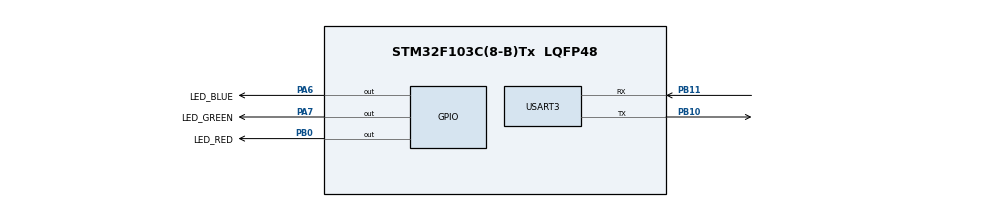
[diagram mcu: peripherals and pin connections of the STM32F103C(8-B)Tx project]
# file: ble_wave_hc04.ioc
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Dma.Request0=USART3_TX
Dma.Request1=USART3_RX
Dma.USART3_RX.1.Direction=DMA_PERIPH_TO_MEMORY
Dma.USART3_RX.1.Instance=DMA1_Channel3
Dma.USART3_RX.1.MemDataAlignment=DMA_MDATAALIGN_BYTE
Dma.USART3_RX.1.MemInc=DMA_MINC_ENABLE
Dma.USART3_RX.1.Mode=DMA_NORMAL
Dma.USART3_RX.1.PeriphDataAlignment=DMA_PDATAALIGN_BYTE
Dma.USART3_RX.1.PeriphInc=DMA_PINC_DISABLE
Dma.USART3_RX.1.Priority=DMA_PRIORITY_LOW
Dma.USART3_TX.0.Direction=DMA_MEMORY_TO_PERIPH
Dma.USART3_TX.0.Instance=DMA1_Channel2
Dma.USART3_TX.0.MemDataAlignment=DMA_MDATAALIGN_BYTE
Dma.USART3_TX.0.MemInc=DMA_MINC_ENABLE
Dma.USART3_TX.0.Mode=DMA_NORMAL
Dma.USART3_TX.0.PeriphDataAlignment=DMA_PDATAALIGN_BYTE
Dma.USART3_TX.0.PeriphInc=DMA_PINC_DISABLE
Dma.USART3_TX.0.Priority=DMA_PRIORITY_LOW
Mcu.Family=STM32F1
Mcu.Name=STM32F103C(8-B)Tx
Mcu.Package=LQFP48
NVIC.DMA1_Channel2_IRQn=true\:0\:0\:false\:false\:true\:false\:true\:true
NVIC.DMA1_Channel3_IRQn=true\:0\:0\:false\:false\:true\:false\:true\:true
NVIC.PriorityGroup=NVIC_PRIORITYGROUP_4
NVIC.USART3_IRQn=true\:0\:0\:false\:false\:true\:true\:true\:true
PA13.Mode=Serial_Wire
PA13.Signal=SYS_JTMS-SWDIO
PA14.Mode=Serial_Wire
PA14.Signal=SYS_JTCK-SWCLK
PA6.GPIO_Label=LED_BLUE
PA6.Signal=GPIO_Output
PA7.GPIO_Label=LED_GREEN
PA7.Signal=GPIO_Output
PB0.GPIO_Label=LED_RED
PB0.Signal=GPIO_Output
PB10.Mode=Asynchronous
PB10.Signal=USART3_TX
PB11.Mode=Asynchronous
PB11.Signal=USART3_RX
ProjectManager.HeapSize=0x200
ProjectManager.StackSize=0x400
ProjectManager.TargetToolchain=STM32CubeIDE
RCC.APB1Freq_Value=8000000
RCC.APB2Freq_Value=8000000
USART3.VirtualMode=VM_ASYNC
board=custom

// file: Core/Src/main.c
/* USER CODE BEGIN Header */
/**
  ******************************************************************************
  * @file           : main.c
  * @brief          : Main program body
  ******************************************************************************
  * @attention
  *
  * Copyright (c) 2026 STMicroelectronics.
  * All rights reserved.
  *
  * This software is licensed under terms that can be found in the LICENSE file
  * in the root directory of this software component.
  * If no LICENSE file comes with this software, it is provided AS-IS.
  *
  * HC-04 蓝牙透传模块波形传输
  * USART3 (PB10-TX, PB11-RX) @115200 8N1 连接 HC-04
  * HC-04 上电即进入透传模式，无需手动开启广播
  * 波形数据通过 wave_plotter 以 [p,数值] 格式发送给上位机
  * LED: PB0(红) PA7(绿) PA6(蓝)
  * SWD 调试: PA13(SWDIO) PA14(SWCLK)
  *
  ******************************************************************************
  */
/* USER CODE END Header */
#include "main.h"

/* USER CODE BEGIN Includes */
#include <string.h>
#include "wave_plotter.h"
/* USER CODE END Includes */

/* USER CODE BEGIN PD */
#define WAVE_POINTS 64  /* 正弦波每周期采样点数 */
/* USER CODE END PD */

UART_HandleTypeDef huart3;
DMA_HandleTypeDef hdma_usart3_tx;
DMA_HandleTypeDef hdma_usart3_rx;

/* USER CODE BEGIN PV */
uint8_t receiveData[50];
/* USER CODE END PV */

void SystemClock_Config(void);
static void MX_GPIO_Init(void);
static void MX_DMA_Init(void);
static void MX_USART3_UART_Init(void);

/* USER CODE BEGIN 0 */

/*
 * 64 点正弦波查找表 (模拟 12 位 ADC 采样值 0~4095)
 * 中心值 2048，振幅 2047，一个完整周期
 */
static const int sineTable[WAVE_POINTS] = {
    2048, 2249, 2447, 2642, 2831, 3013, 3185, 3347,
    3495, 3630, 3750, 3853, 3939, 4007, 4056, 4085,
    4095, 4085, 4056, 4007, 3939, 3853, 3750, 3630,
    3495, 3347, 3185, 3013, 2831, 2642, 2447, 2249,
    2048, 1847, 1649, 1454, 1265, 1083,  911,  749,
     601,  466,  346,  243,  157,   89,   40,   11,
       1,   11,   40,   89,  157,  243,  346,  466,
     601,  749,  911, 1083, 1265, 1454, 1649, 1847
};

/*
 * HC-04 透传模式接收回调
 * 手机/上位机通过 HC-04 发来的数据以原始字节到达
 * 此处仅重启 DMA 接收，可根据需要在此添加数据处理逻辑
 */
void HAL_UARTEx_RxEventCallback(UART_HandleTypeDef *huart, uint16_t Size)
{
	if (huart == &huart3)
	{
		/* 重新启动 DMA 接收 */
		HAL_UARTEx_ReceiveToIdle_DMA(&huart3, receiveData, sizeof(receiveData));
		__HAL_DMA_DISABLE_IT(&hdma_usart3_rx, DMA_IT_HT);
	}
}
/* USER CODE END 0 */

int main(void)
{

  /* MCU Configuration--------------------------------------------------------*/

  /* Reset of all peripherals, Initializes the Flash interface and the Systick. */
  HAL_Init();

  /* Configure the system clock */
  SystemClock_Config();

  /* Initialize all configured peripherals */
  MX_GPIO_Init();
  MX_DMA_Init();
  MX_USART3_UART_Init();
  /* USER CODE BEGIN 2 */
  /* 启动 DMA 接收（HC-04 透传模式下接收上位机数据） */
  HAL_UARTEx_ReceiveToIdle_DMA(&huart3, receiveData, sizeof(receiveData));
  __HAL_DMA_DISABLE_IT(&hdma_usart3_rx, DMA_IT_HT);

  /* HC-04 上电即透传，无需手动开启广播 */
  HAL_Delay(100);
  /* USER CODE END 2 */

  /* Infinite loop */
  /* USER CODE BEGIN WHILE */
  while (1)
  {
    /* 通过 HC-04 蓝牙透传发送正弦波数据 */
    /* wave_plotter 内部将 ADC 值(0~4095)映射为电压(0~330)并以 [p,数值] 格式发送 */
    Plotter_Send_1CH(&huart3, (int *)sineTable, WAVE_POINTS);

    /* 每个周期之间稍作停顿，便于上位机区分波形周期 */
    HAL_Delay(50);
    /* USER CODE END WHILE */

  }
}

void SystemClock_Config(void)
{
  RCC_OscInitTypeDef RCC_OscInitStruct = {0};
  RCC_ClkInitTypeDef RCC_ClkInitStruct = {0};

  /** Initializes the RCC Oscillators according to the specified parameters
  * in the RCC_OscInitTypeDef structure.
  */
  RCC_OscInitStruct.OscillatorType = RCC_OSCILLATORTYPE_HSI;
  RCC_OscInitStruct.HSIState = RCC_HSI_ON;
  RCC_OscInitStruct.HSICalibrationValue = RCC_HSICALIBRATION_DEFAULT;
  RCC_OscInitStruct.PLL.PLLState = RCC_PLL_NONE;
  if (HAL_RCC_OscConfig(&RCC_OscInitStruct) != HAL_OK)
  {
    Error_Handler();
  }

  /** Initializes the CPU, AHB and APB buses clocks
  */
  RCC_ClkInitStruct.ClockType = RCC_CLOCKTYPE_HCLK|RCC_CLOCKTYPE_SYSCLK
                              |RCC_CLOCKTYPE_PCLK1|RCC_CLOCKTYPE_PCLK2;
  RCC_ClkInitStruct.SYSCLKSource = RCC_SYSCLKSOURCE_HSI;
  RCC_ClkInitStruct.AHBCLKDivider = RCC_SYSCLK_DIV1;
  RCC_ClkInitStruct.APB1CLKDivider = RCC_HCLK_DIV1;
  RCC_ClkInitStruct.APB2CLKDivider = RCC_HCLK_DIV1;

  if (HAL_RCC_ClockConfig(&RCC_ClkInitStruct, FLASH_LATENCY_0) != HAL_OK)
  {
    Error_Handler();
  }
}

static void MX_USART3_UART_Init(void)
{

  huart3.Instance = USART3;
  huart3.Init.BaudRate = 115200;
  huart3.Init.WordLength = UART_WORDLENGTH_8B;
  huart3.Init.StopBits = UART_STOPBITS_1;
  huart3.Init.Parity = UART_PARITY_NONE;
  huart3.Init.Mode = UART_MODE_TX_RX;
  huart3.Init.HwFlowCtl = UART_HWCONTROL_NONE;
  huart3.Init.OverSampling = UART_OVERSAMPLING_16;
  if (HAL_UART_Init(&huart3) != HAL_OK)
  {
    Error_Handler();
  }

}

static void MX_DMA_Init(void)
{

  /* DMA controller clock enable */
  __HAL_RCC_DMA1_CLK_ENABLE();

  /* DMA interrupt init */
  /* DMA1_Channel2_IRQn interrupt configuration */
  HAL_NVIC_SetPriority(DMA1_Channel2_IRQn, 0, 0);
  HAL_NVIC_EnableIRQ(DMA1_Channel2_IRQn);
  /* DMA1_Channel3_IRQn interrupt configuration */
  HAL_NVIC_SetPriority(DMA1_Channel3_IRQn, 0, 0);
  HAL_NVIC_EnableIRQ(DMA1_Channel3_IRQn);

}

static void MX_GPIO_Init(void)
{
  GPIO_InitTypeDef GPIO_InitStruct = {0};

  /* GPIO Ports Clock Enable */
  __HAL_RCC_GPIOA_CLK_ENABLE();
  __HAL_RCC_GPIOB_CLK_ENABLE();

  /*Configure GPIO pin Output Level */
  HAL_GPIO_WritePin(GPIOA, LED_BLUE_Pin|LED_GREEN_Pin, GPIO_PIN_RESET);

  /*Configure GPIO pin Output Level */
  HAL_GPIO_WritePin(LED_RED_GPIO_Port, LED_RED_Pin, GPIO_PIN_RESET);

  /*Configure GPIO pins : LED_BLUE_Pin LED_GREEN_Pin */
  GPIO_InitStruct.Pin = LED_BLUE_Pin|LED_GREEN_Pin;
  GPIO_InitStruct.Mode = GPIO_MODE_OUTPUT_PP;
  GPIO_InitStruct.Pull = GPIO_NOPULL;
  GPIO_InitStruct.Speed = GPIO_SPEED_FREQ_LOW;
  HAL_GPIO_Init(GPIOA, &GPIO_InitStruct);

  /*Configure GPIO pin : LED_RED_Pin */
  GPIO_InitStruct.Pin = LED_RED_Pin;
  GPIO_InitStruct.Mode = GPIO_MODE_OUTPUT_PP;
  GPIO_InitStruct.Pull = GPIO_NOPULL;
  GPIO_InitStruct.Speed = GPIO_SPEED_FREQ_LOW;
  HAL_GPIO_Init(LED_RED_GPIO_Port, &GPIO_InitStruct);

}

void Error_Handler(void)
{
  __disable_irq();
  while (1)
  {
  }
}
